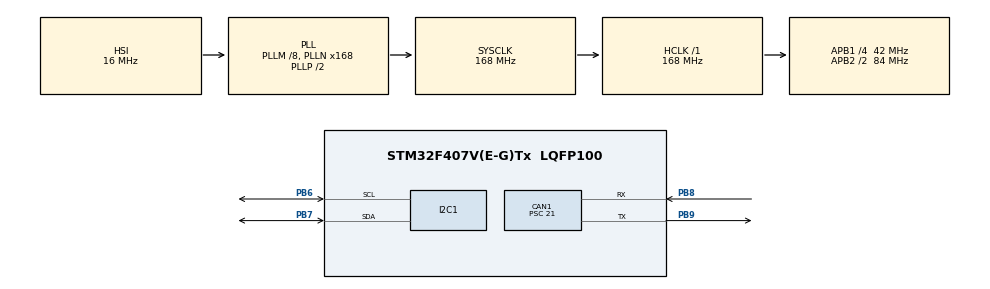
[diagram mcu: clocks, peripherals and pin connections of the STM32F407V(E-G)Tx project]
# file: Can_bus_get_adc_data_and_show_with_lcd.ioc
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CAN1.BS1=CAN_BS1_12TQ
CAN1.BS2=CAN_BS2_4TQ
CAN1.CalculateBaudRate=117647
CAN1.CalculateTimeBit=8500
CAN1.CalculateTimeQuantum=500.0
CAN1.Prescaler=21
Mcu.Family=STM32F4
Mcu.Name=STM32F407V(E-G)Tx
Mcu.Package=LQFP100
NVIC.CAN1_RX0_IRQn=true\:0\:0\:false\:false\:true\:true\:true
NVIC.PriorityGroup=NVIC_PRIORITYGROUP_0
PB6.Mode=I2C
PB6.Signal=I2C1_SCL
PB7.Mode=I2C
PB7.Signal=I2C1_SDA
PB8.Mode=CAN_Activate
PB8.Signal=CAN1_RX
PB9.Mode=CAN_Activate
PB9.Signal=CAN1_TX
PH0-OSC_IN.Mode=HSE-External-Oscillator
PH0-OSC_IN.Signal=RCC_OSC_IN
PH1-OSC_OUT.Mode=HSE-External-Oscillator
PH1-OSC_OUT.Signal=RCC_OSC_OUT
ProjectManager.HeapSize=0x200
ProjectManager.StackSize=0x400
ProjectManager.TargetToolchain=STM32CubeIDE
RCC.48MHZClocksFreq_Value=48000000
RCC.AHBFreq_Value=168000000
RCC.APB1CLKDivider=RCC_HCLK_DIV4
RCC.APB1Freq_Value=42000000
RCC.APB1TimFreq_Value=84000000
RCC.APB2CLKDivider=RCC_HCLK_DIV2
RCC.APB2Freq_Value=84000000
RCC.APB2TimFreq_Value=168000000
RCC.CortexFreq_Value=168000000
RCC.HCLKFreq_Value=168000000
RCC.HSE_VALUE=8000000
RCC.HSI_VALUE=16000000
RCC.LSE_VALUE=32768
RCC.PLLM=8
RCC.PLLN=168
RCC.PLLQ=7
RCC.SYSCLKFreq_VALUE=168000000
RCC.SYSCLKSource=RCC_SYSCLKSOURCE_PLLCLK
RCC.VCOOutputFreq_Value=336000000
board=STM32F407G-DISC1

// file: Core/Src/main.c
/* USER CODE BEGIN Header */
/**
  ******************************************************************************
  * @file           : main.c
  * @brief          : Main program body
  ******************************************************************************
  * @attention
  *
  * Copyright (c) 2023 STMicroelectronics.
  * All rights reserved.
  *
  * This software is licensed under terms that can be found in the LICENSE file
  * in the root directory of this software component.
  * If no LICENSE file comes with this software, it is provided AS-IS.
  *
  ******************************************************************************
  */
/* USER CODE END Header */
#include "main.h"
#include "i2c-lcd.h"

CAN_HandleTypeDef hcan1;

CAN_RxHeaderTypeDef pHeader;
CAN_TxHeaderTypeDef ptxHeader;
CAN_FilterTypeDef sFilterConfig;

uint8_t radc_value;

I2C_HandleTypeDef hi2c1;

void SystemClock_Config(void);
static void MX_GPIO_Init(void);
static void MX_CAN1_Init(void);
static void MX_I2C1_Init(void);

int main(void)
{

  /* MCU Configuration--------------------------------------------------------*/

  /* Reset of all peripherals, Initializes the Flash interface and the Systick. */
  HAL_Init();

  /* Configure the system clock */
  SystemClock_Config();

  /* Initialize all configured peripherals */
  MX_GPIO_Init();
  MX_CAN1_Init();
  MX_I2C1_Init();
  /* USER CODE BEGIN 2 */

  ptxHeader.DLC = 1;
  ptxHeader.IDE = CAN_ID_STD;
  ptxHeader.RTR = CAN_RTR_DATA;
  ptxHeader.StdId = 0x0156;

  sFilterConfig.FilterActivation = ENABLE;
  sFilterConfig.FilterBank = 0;
  sFilterConfig.FilterFIFOAssignment = CAN_FILTER_FIFO0;
  sFilterConfig.FilterIdHigh = 0x0000;
  sFilterConfig.FilterIdLow = 0x0000;
  sFilterConfig.FilterMaskIdHigh = 0x0000;
  sFilterConfig.FilterMaskIdLow = 0x0000;
  sFilterConfig.FilterMode = CAN_FILTERMODE_IDMASK;
  sFilterConfig.FilterScale = CAN_FILTERSCALE_16BIT;

  HAL_CAN_ConfigFilter(&hcan1, &sFilterConfig);

  HAL_CAN_Start(&hcan1);

  HAL_CAN_ActivateNotification(&hcan1, CAN_IT_RX_FIFO0_MSG_PENDING);

  lcd_init();
  lcd_send_string(" CAN BUS");

  HAL_Delay(2000);

  /* USER CODE END 2 */

  /* Infinite loop */
  while (1)
  {

  }
}

void SystemClock_Config(void)
{
  RCC_OscInitTypeDef RCC_OscInitStruct = {0};
  RCC_ClkInitTypeDef RCC_ClkInitStruct = {0};

  /** Configure the main internal regulator output voltage
  */
  __HAL_RCC_PWR_CLK_ENABLE();
  __HAL_PWR_VOLTAGESCALING_CONFIG(PWR_REGULATOR_VOLTAGE_SCALE1);
  /** Initializes the RCC Oscillators according to the specified parameters
  * in the RCC_OscInitTypeDef structure.
  */
  RCC_OscInitStruct.OscillatorType = RCC_OSCILLATORTYPE_HSI;
  RCC_OscInitStruct.HSIState = RCC_HSI_ON;
  RCC_OscInitStruct.HSICalibrationValue = RCC_HSICALIBRATION_DEFAULT;
  RCC_OscInitStruct.PLL.PLLState = RCC_PLL_ON;
  RCC_OscInitStruct.PLL.PLLSource = RCC_PLLSOURCE_HSI;
  RCC_OscInitStruct.PLL.PLLM = 8;
  RCC_OscInitStruct.PLL.PLLN = 168;
  RCC_OscInitStruct.PLL.PLLP = RCC_PLLP_DIV2;
  RCC_OscInitStruct.PLL.PLLQ = 7;
  if (HAL_RCC_OscConfig(&RCC_OscInitStruct) != HAL_OK)
  {
    Error_Handler();
  }
  /** Initializes the CPU, AHB and APB buses clocks
  */
  RCC_ClkInitStruct.ClockType = RCC_CLOCKTYPE_HCLK|RCC_CLOCKTYPE_SYSCLK
                              |RCC_CLOCKTYPE_PCLK1|RCC_CLOCKTYPE_PCLK2;
  RCC_ClkInitStruct.SYSCLKSource = RCC_SYSCLKSOURCE_PLLCLK;
  RCC_ClkInitStruct.AHBCLKDivider = RCC_SYSCLK_DIV1;
  RCC_ClkInitStruct.APB1CLKDivider = RCC_HCLK_DIV4;
  RCC_ClkInitStruct.APB2CLKDivider = RCC_HCLK_DIV2;

  if (HAL_RCC_ClockConfig(&RCC_ClkInitStruct, FLASH_LATENCY_5) != HAL_OK)
  {
    Error_Handler();
  }
}

static void MX_CAN1_Init(void)
{

  hcan1.Instance = CAN1;
  hcan1.Init.Prescaler = 21;
  hcan1.Init.Mode = CAN_MODE_NORMAL;
  hcan1.Init.SyncJumpWidth = CAN_SJW_1TQ;
  hcan1.Init.TimeSeg1 = CAN_BS1_12TQ;
  hcan1.Init.TimeSeg2 = CAN_BS2_4TQ;
  hcan1.Init.TimeTriggeredMode = DISABLE;
  hcan1.Init.AutoBusOff = DISABLE;
  hcan1.Init.AutoWakeUp = DISABLE;
  hcan1.Init.AutoRetransmission = DISABLE;
  hcan1.Init.ReceiveFifoLocked = DISABLE;
  hcan1.Init.TransmitFifoPriority = DISABLE;
  if (HAL_CAN_Init(&hcan1) != HAL_OK)
  {
    Error_Handler();
  }

}

static void MX_I2C1_Init(void)
{

  hi2c1.Instance = I2C1;
  hi2c1.Init.ClockSpeed = 100000;
  hi2c1.Init.DutyCycle = I2C_DUTYCYCLE_2;
  hi2c1.Init.OwnAddress1 = 0;
  hi2c1.Init.AddressingMode = I2C_ADDRESSINGMODE_7BIT;
  hi2c1.Init.DualAddressMode = I2C_DUALADDRESS_DISABLE;
  hi2c1.Init.OwnAddress2 = 0;
  hi2c1.Init.GeneralCallMode = I2C_GENERALCALL_DISABLE;
  hi2c1.Init.NoStretchMode = I2C_NOSTRETCH_DISABLE;
  if (HAL_I2C_Init(&hi2c1) != HAL_OK)
  {
    Error_Handler();
  }

}

static void MX_GPIO_Init(void)
{

  /* GPIO Ports Clock Enable */
  __HAL_RCC_GPIOH_CLK_ENABLE();
  __HAL_RCC_GPIOB_CLK_ENABLE();

}

void Error_Handler(void)
{
  __disable_irq();
  while (1)
  {
  }
}
